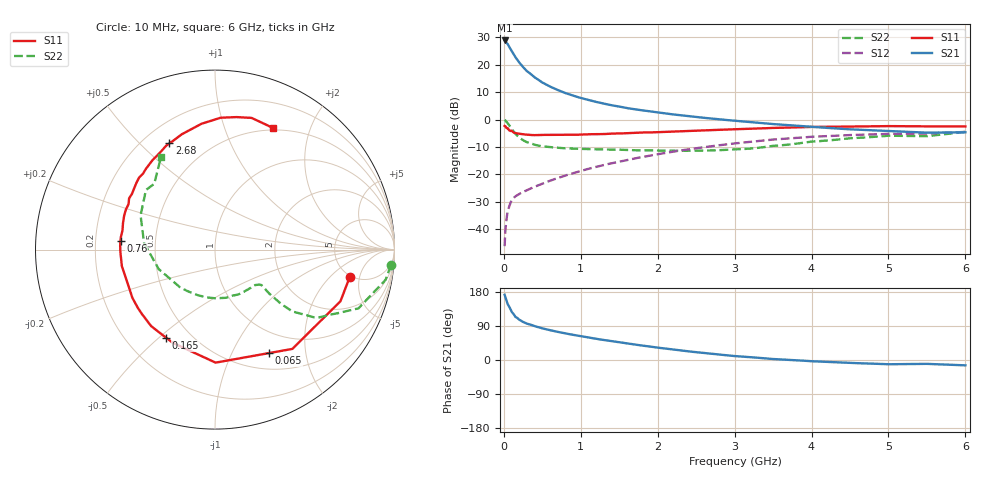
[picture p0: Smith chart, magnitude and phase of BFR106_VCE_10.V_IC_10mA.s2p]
! Infineon Technologies  Discrete & RF Semiconductors
! BFR106
! VCE =  10. V,  IC =  10 mA
! Common Emitter S-Parameters:  Nov 2015
# GHz  S  MA  R  50
!  f  S11  S21  S12  S22
! GHz  MAG  ANG  MAG  ANG  MAG  ANG  MAG  ANG
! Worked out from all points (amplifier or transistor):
!   210 points, 10 MHz to 6 GHz, reference 50 ohm
!   highest |S21| = 28.9 dB at 10 MHz (marker M1)
!   |S21| within 3 dB of that: start of sweep to 83.65 MHz
!   unconditionally stable (mu >= 1): 504 MHz to 1.987 GHz; 5.36 GHz to end of sweep
!   at 185 MHz: K = 0.55, MSG = 24.4 dB, |S12| = -27.4 dB
!   at 1.52 GHz: K = 1.07, MAG = 8.3 dB, |S12| = -15.2 dB
!   at 6 GHz: K = 1.00, MAG = -0.5 dB, |S12| = -4.5 dB
!   S11 on the Smith chart (normalised r, x): 10 MHz: 4.86, -3.57; 65 MHz: 0.70, -1.41; 165 MHz: 0.37, -0.53; 760 MHz: 0.31, +0.04; 2.68 GHz: 0.30, +0.62; 6 GHz: 0.48, +1.48
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0.01  0.7663 -11.4  27.85 172.1  0.0049 86.1  0.9844 -5.0
0.02  0.7559 -22.4  27.24 165.8  0.0095 79.1  0.9653 -10.0
0.05  0.7012 -52.1  23.9 147.3  0.0212 66.9  0.8637 -22.3
0.065  0.6508 -62.3  21.91 142.4  0.0248 61.8  0.8057 -25.2
0.1  0.6298 -89.7  18.11 127.3  0.0337 54.2  0.681 -34.0
0.15  0.5702 -114.4  13.8 114.1  0.0398 48.7  0.5496 -38.7
0.165  0.5615 -118.9  12.95 112.1  0.0411 48.5  0.5266 -38.9
0.2  0.5553 -129.8  11.04 106.4  0.044 48.1  0.4728 -39.4
0.24  0.5425 -138.8  9.446 101.6  0.0471 47.9  0.4299 -39.2
0.3  0.5331 -149.7  7.689 96.0  0.0514 49.6  0.3874 -39.0
0.4  0.521 -161.5  5.912 89.2  0.0595 52.8  0.3465 -37.9
0.5  0.5271 -169.9  4.755 83.5  0.0676 55.8  0.3253 -37.4
0.6  0.5268 -177.1  4.014 78.6  0.0766 58.2  0.315 -38.2
0.76  0.5286 174.6  3.221 71.9  0.0915 60.8  0.3021 -40.6
1.02  0.5346 163.0  2.442 62.0  0.1176 63.4  0.2924 -46.1
1.4  0.5573 149.2  1.828 49.8  0.1596 63.8  0.2849 -57.5
2.02  0.592 130.6  1.336 32.1  0.236 59.9  0.2723 -82.1
2.68  0.644 113.2  1.053 16.9  0.3242 52.1  0.2724 -115.4
3.1  0.6742 104.0  0.928 9.0  0.3801 45.8  0.2896 -139.2
4.1  0.737 86.2  0.721 -4.0  0.4922 28.7  0.4047 170.4
5.1  0.7591 73.3  0.613 -11.0  0.5507 12.9  0.5059 137.9
6  0.7502 64.5  0.587 -14.1  0.5965 1.4  0.597 120.3
